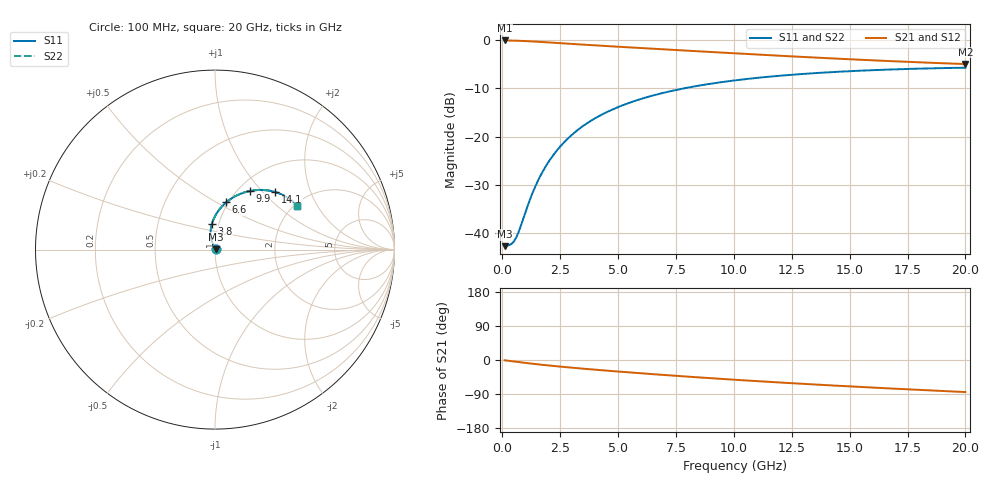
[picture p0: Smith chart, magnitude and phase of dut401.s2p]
! Touchstone file exported from HFSS 2024.1.0
!  File:  C:/UserFiles/LocalFiles/RDL_TSV_Batchsim/temp_RDL_TSV_401_1779711221.aedt
!  Generated:  08:29:14 PM May 25, 2026
!  Design:  RDL_TSV
!  Project:  temp_RDL_TSV_401_1779711221
!  Setup:  Setup1
!  Solution:  Sweep
! Variables:
!  dtsv = 8.53um
!  hbump = 3um
!  htsv = 50.78um
!  ldown = 156.37um
!  lrdl = 126.67um
!  p = 40
!  p1 = 56.05um
!  rhole = 10um
!  subl = 975.79um
!  t = 450um
!  tdown = 4.65um
!  trdl = 4.95um
!  viad = 10um
!  wdown = 10.93um
!  wrdl = 11.08um
!  xbump = 18um
# GHz S MA R 50.000000
! Terminal data exported
! Port[1] = TM1_1_T1
! Port[2] = TM1_4_T1
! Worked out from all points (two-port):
!   200 points, 100 MHz to 20 GHz, reference 50 ohm
!   highest |S21| = -0.07 dB at 100 MHz (marker M1); lowest = -5.0 dB at 20 GHz (marker M2)
!   |S21| within 3 dB of the highest: start of sweep to 11.32 GHz
!   lowest |S11| = -42.7 dB at 100 MHz (marker M3), VSWR 1.01, Z = 50.7 + j0.131 ohm
!   |S11| at or under -10 dB: start of sweep to 7.841 GHz
!   |S22| runs from -42.7 to -5.7 dB; largest |S21 - S12| = 1.1e-14
!   S11 on the Smith chart (normalised r, x): 100 MHz: 1.01, +0.00; 3.8 GHz: 0.93, +0.27; 6.6 GHz: 0.98, +0.56; 9.9 GHz: 1.13, +0.86; 14.1 GHz: 1.44, +1.18; 20 GHz: 2.07, +1.38
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0.1  0.007324 10.1  0.9925 -0.8  0.9925 -0.8  0.007324 10.1
! Gamma 0 0 0 0
! Port Impedance 50 0 50 0
0.4  0.007743 42.1  0.9899 -3.2  0.9899 -3.2  0.007743 42.1
0.6  0.008979 65.8  0.9869 -4.7  0.9869 -4.7  0.008978 65.8
0.8  0.01188 85.7  0.9829 -6.2  0.9829 -6.2  0.01187 85.7
1.2  0.02243 105.5  0.9728 -9.1  0.9728 -9.1  0.02242 105.5
1.4  0.02945 109.1  0.9668 -10.5  0.9668 -10.5  0.02944 109.1
1.7  0.0415 110.9  0.9573 -12.5  0.9573 -12.5  0.04149 110.9
2  0.05486 110.5  0.9473 -14.5  0.9473 -14.5  0.05485 110.5
2.3  0.06911 109.0  0.9371 -16.3  0.9371 -16.3  0.0691 109.0
2.7  0.08894 106.1  0.9237 -18.6  0.9237 -18.6  0.08893 106.1
3.5  0.1295 99.4  0.8981 -22.9  0.8981 -22.9  0.1295 99.4
3.8  0.1445 96.9  0.889 -24.5  0.889 -24.5  0.1445 96.9
5  0.2022 87.4  0.8546 -30.4  0.8546 -30.4  0.2022 87.4
6.6  0.2705 76.6  0.8124 -37.8  0.8124 -37.8  0.2705 76.6
6.8  0.2783 75.4  0.8073 -38.7  0.8073 -38.7  0.2783 75.4
8.2  0.3283 67.6  0.7728 -44.7  0.7728 -44.7  0.3283 67.6
9.9  0.3789 59.4  0.7333 -51.6  0.7333 -51.6  0.3789 59.4
10.1  0.3842 58.6  0.7289 -52.4  0.7289 -52.4  0.3842 58.6
13.4  0.4535 45.9  0.6616 -64.3  0.6616 -64.3  0.4535 45.9
14.1  0.4644 43.6  0.649 -66.7  0.649 -66.7  0.4644 43.6
16.7  0.4957 36.0  0.6071 -75.0  0.6071 -75.0  0.4957 36.0
20  0.5183 28.0  0.565 -84.6  0.565 -84.6  0.5183 28.0
